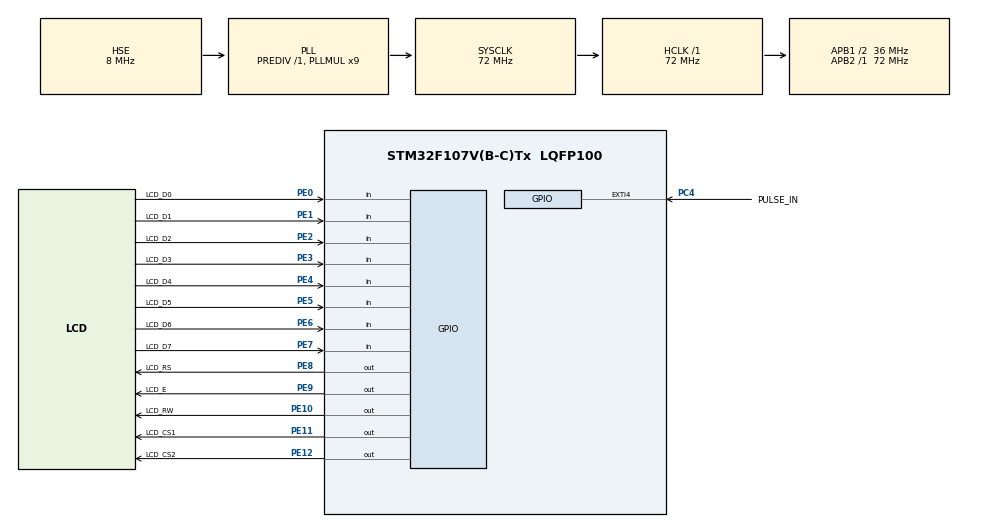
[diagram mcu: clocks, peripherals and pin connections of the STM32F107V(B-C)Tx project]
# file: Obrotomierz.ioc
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Mcu.Family=STM32F1
Mcu.Name=STM32F107V(B-C)Tx
Mcu.Package=LQFP100
NVIC.EXTI4_IRQn=true\:0\:0\:false\:false\:true\:true\:true\:true
NVIC.PriorityGroup=NVIC_PRIORITYGROUP_4
OSC_IN.Mode=HSE-External-Oscillator
OSC_IN.Signal=RCC_OSC_IN
OSC_OUT.Mode=HSE-External-Oscillator
OSC_OUT.Signal=RCC_OSC_OUT
PC4.GPIO_Label=PULSE_IN
PC4.Signal=GPXTI4
PE0.GPIO_Label=LCD_D0
PE0.Signal=GPIO_Input
PE1.GPIO_Label=LCD_D1
PE1.Signal=GPIO_Input
PE10.GPIO_Label=LCD_RW
PE10.Signal=GPIO_Output
PE11.GPIO_Label=LCD_CS1
PE11.Signal=GPIO_Output
PE12.GPIO_Label=LCD_CS2
PE12.Signal=GPIO_Output
PE2.GPIO_Label=LCD_D2
PE2.Signal=GPIO_Input
PE3.GPIO_Label=LCD_D3
PE3.Signal=GPIO_Input
PE4.GPIO_Label=LCD_D4
PE4.Signal=GPIO_Input
PE5.GPIO_Label=LCD_D5
PE5.Signal=GPIO_Input
PE6.GPIO_Label=LCD_D6
PE6.Signal=GPIO_Input
PE7.GPIO_Label=LCD_D7
PE7.Signal=GPIO_Input
PE8.GPIO_Label=LCD_RS
PE8.Signal=GPIO_Output
PE9.GPIO_Label=LCD_E
PE9.Signal=GPIO_Output
ProjectManager.HeapSize=0x200
ProjectManager.StackSize=0x400
ProjectManager.TargetToolchain=MDK-ARM V5.32
RCC.AHBFreq_Value=72000000
RCC.APB1CLKDivider=RCC_HCLK_DIV2
RCC.APB1Freq_Value=36000000
RCC.APB1TimFreq_Value=72000000
RCC.APB2Freq_Value=72000000
RCC.APB2TimFreq_Value=72000000
RCC.HCLKFreq_Value=72000000
RCC.PLLMUL=RCC_PLL_MUL9
RCC.PLLSourceVirtual=RCC_PLLSOURCE_HSE
RCC.SYSCLKFreq_VALUE=72000000
RCC.SYSCLKSource=RCC_SYSCLKSOURCE_PLLCLK
RCC.USBFreq_Value=48000000
TIM7.Period=10000
TIM7.Prescaler=7200
VP_SYS_VS_ND.Mode=No_Debug
VP_TIM7_VS_ClockSourceINT.Mode=Enable_Timer
board=custom

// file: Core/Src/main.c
/* USER CODE BEGIN Header */
/**
  ******************************************************************************
  * @file           : main.c
  * @brief          : Main program body
  ******************************************************************************
  * @attention
  *
  * Copyright (c) 2022 STMicroelectronics.
  * All rights reserved.
  *
  * This software is licensed under terms that can be found in the LICENSE file
  * in the root directory of this software component.
  * If no LICENSE file comes with this software, it is provided AS-IS.
  *
  ******************************************************************************
  */
/* USER CODE END Header */
#include "main.h"
#include "tim.h"
#include "gpio.h"

/* USER CODE BEGIN Includes */

#include "gpio.h"
#include "glcd.h"
#include "glcd_bar.h"

/* USER CODE END Includes */

/* USER CODE BEGIN PV */
volatile uint16_t period;
/* USER CODE END PV */

void SystemClock_Config(void);

int main(void)
{

  /* MCU Configuration--------------------------------------------------------*/

  /* Reset of all peripherals, Initializes the Flash interface and the Systick. */
  HAL_Init();

  /* Configure the system clock */
  SystemClock_Config();

  /* Initialize all configured peripherals */
  MX_GPIO_Init();
  MX_TIM7_Init();
  /* USER CODE BEGIN 2 */

	HAL_TIM_Base_Start(&htim7);
	glcd_Initialize();
  glcd_ClearScreen();
  glcd_Bar_Init();

  /* USER CODE END 2 */

  /* Infinite loop */
  while (1)
  {

    /* USER CODE BEGIN 3 */
		uint8_t pos1, pos2, pos3, pos4, pos5;
		uint16_t freq, freq_last;
		if(period!=0)
		freq=600000/period-1;		//(obr/min)

		freq_last=freq;

		pos1=freq%10;
		freq=freq/10;
		pos2=freq%10;
		freq=freq/10;
		pos3=freq%10;
		freq=freq/10;
		pos4=freq%10;
		freq=freq/10;
		pos5=freq;
		freq=0;

		glcd_GoTo(0, 0);
		glcd_PutChar(pos5+48);
		glcd_PutChar(pos4+48);
		glcd_PutChar(pos3+48);
		glcd_PutChar(pos2+48);
		glcd_PutChar(pos1+48);

		print_bar(freq_last/300);

  }
  /* USER CODE END 3 */
}

void SystemClock_Config(void)
{
  RCC_OscInitTypeDef RCC_OscInitStruct = {0};
  RCC_ClkInitTypeDef RCC_ClkInitStruct = {0};

  /** Initializes the RCC Oscillators according to the specified parameters
  * in the RCC_OscInitTypeDef structure.
  */
  RCC_OscInitStruct.OscillatorType = RCC_OSCILLATORTYPE_HSE;
  RCC_OscInitStruct.HSEState = RCC_HSE_ON;
  RCC_OscInitStruct.HSEPredivValue = RCC_HSE_PREDIV_DIV1;
  RCC_OscInitStruct.HSIState = RCC_HSI_ON;
  RCC_OscInitStruct.Prediv1Source = RCC_PREDIV1_SOURCE_HSE;
  RCC_OscInitStruct.PLL.PLLState = RCC_PLL_ON;
  RCC_OscInitStruct.PLL.PLLSource = RCC_PLLSOURCE_HSE;
  RCC_OscInitStruct.PLL.PLLMUL = RCC_PLL_MUL9;
  RCC_OscInitStruct.PLL2.PLL2State = RCC_PLL_NONE;
  if (HAL_RCC_OscConfig(&RCC_OscInitStruct) != HAL_OK)
  {
    Error_Handler();
  }

  /** Initializes the CPU, AHB and APB buses clocks
  */
  RCC_ClkInitStruct.ClockType = RCC_CLOCKTYPE_HCLK|RCC_CLOCKTYPE_SYSCLK
                              |RCC_CLOCKTYPE_PCLK1|RCC_CLOCKTYPE_PCLK2;
  RCC_ClkInitStruct.SYSCLKSource = RCC_SYSCLKSOURCE_PLLCLK;
  RCC_ClkInitStruct.AHBCLKDivider = RCC_SYSCLK_DIV1;
  RCC_ClkInitStruct.APB1CLKDivider = RCC_HCLK_DIV2;
  RCC_ClkInitStruct.APB2CLKDivider = RCC_HCLK_DIV1;

  if (HAL_RCC_ClockConfig(&RCC_ClkInitStruct, FLASH_LATENCY_2) != HAL_OK)
  {
    Error_Handler();
  }

  /** Configure the Systick interrupt time
  */
  __HAL_RCC_PLLI2S_ENABLE();
}

void Error_Handler(void)
{
  __disable_irq();
  while (1)
  {
  }
}
